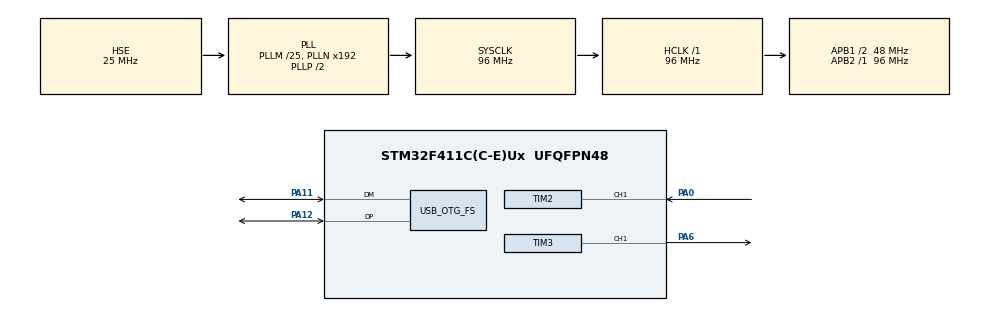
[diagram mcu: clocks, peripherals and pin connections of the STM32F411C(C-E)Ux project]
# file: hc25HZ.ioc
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Mcu.Family=STM32F4
Mcu.Name=STM32F411C(C-E)Ux
Mcu.Package=UFQFPN48
NVIC.OTG_FS_IRQn=true\:0\:0\:false\:false\:true\:false\:true\:true
NVIC.PriorityGroup=NVIC_PRIORITYGROUP_4
NVIC.TIM2_IRQn=true\:0\:0\:false\:false\:true\:true\:true\:true
PA0-WKUP.Signal=S_TIM2_CH1_ETR
PA11.Mode=Device_Only
PA11.Signal=USB_OTG_FS_DM
PA12.Mode=Device_Only
PA12.Signal=USB_OTG_FS_DP
PA13.Mode=Serial_Wire
PA13.Signal=SYS_JTMS-SWDIO
PA14.Mode=Serial_Wire
PA14.Signal=SYS_JTCK-SWCLK
PA6.Signal=S_TIM3_CH1
PH0\ -\ OSC_IN.Mode=HSE-External-Oscillator
PH0\ -\ OSC_IN.Signal=RCC_OSC_IN
PH1\ -\ OSC_OUT.Mode=HSE-External-Oscillator
PH1\ -\ OSC_OUT.Signal=RCC_OSC_OUT
ProjectManager.HeapSize=0x200
ProjectManager.StackSize=0x400
ProjectManager.TargetToolchain=STM32CubeIDE
RCC.48MHZClocksFreq_Value=48000000
RCC.AHBFreq_Value=96000000
RCC.APB1CLKDivider=RCC_HCLK_DIV2
RCC.APB1Freq_Value=48000000
RCC.APB1TimFreq_Value=96000000
RCC.APB2Freq_Value=96000000
RCC.APB2TimFreq_Value=96000000
RCC.CortexFreq_Value=96000000
RCC.HCLKFreq_Value=96000000
RCC.HSE_VALUE=25000000
RCC.HSI_VALUE=16000000
RCC.LSE_VALUE=32768
RCC.PLLM=25
RCC.SYSCLKFreq_VALUE=96000000
RCC.SYSCLKSource=RCC_SYSCLKSOURCE_PLLCLK
RCC.VCOOutputFreq_Value=192000000
SH.S_TIM2_CH1_ETR.0=TIM2_CH1,Input_Capture1_from_TI1
SH.S_TIM3_CH1.0=TIM3_CH1,PWM Generation1 CH1
TIM2.Channel-Input_Capture1_from_TI1=TIM_CHANNEL_1
TIM2.Prescaler=95
TIM3.Channel-PWM\ Generation1\ CH1=TIM_CHANNEL_1
TIM3.Period=39999
TIM3.Prescaler=95
TIM3.Pulse-PWM\ Generation1\ CH1=10
USB_DEVICE.CLASS_NAME_FS=CDC
USB_DEVICE.VirtualMode=Cdc
USB_DEVICE.VirtualModeFS=Cdc_FS
USB_OTG_FS.VirtualMode=Device_Only
VP_USB_DEVICE_VS_USB_DEVICE_CDC_FS.Mode=CDC_FS
board=custom

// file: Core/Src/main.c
/* USER CODE BEGIN Header */
/**
  ******************************************************************************
  * @file           : main.c
  * @brief          : Main program body
  ******************************************************************************
  * @attention
  *
  * Copyright (c) 2026 STMicroelectronics.
  * All rights reserved.
  *
  * This software is licensed under terms that can be found in the LICENSE file
  * in the root directory of this software component.
  * If no LICENSE file comes with this software, it is provided AS-IS.
  *
  ******************************************************************************
  */
/* USER CODE END Header */
#include "main.h"
#include "usb_device.h"

/* USER CODE BEGIN Includes */
#include "usbd_cdc_if.h"
#include <stdio.h>
#include <string.h>
/* USER CODE END Includes */

TIM_HandleTypeDef htim2;
TIM_HandleTypeDef htim3;

/* USER CODE BEGIN PV */
volatile uint32_t ic_val1 = 0;
volatile uint32_t ic_val2 = 0;
volatile uint32_t difference = 0;
volatile uint8_t is_first_captured = 0;
volatile uint8_t new_data_ready = 0;

float distance = 0;
char usb_buffer[64];
/* USER CODE END PV */

void SystemClock_Config(void);
static void MX_GPIO_Init(void);
static void MX_TIM2_Init(void);
static void MX_TIM3_Init(void);

/* USER CODE BEGIN 0 */
void HAL_TIM_IC_CaptureCallback(TIM_HandleTypeDef *htim)
{
    if (htim->Channel == HAL_TIM_ACTIVE_CHANNEL_1)
    {
        if (is_first_captured == 0) // Rising Edge Detected
        {
            ic_val1 = HAL_TIM_ReadCapturedValue(htim, TIM_CHANNEL_1);
            is_first_captured = 1;

            // Switch polarity to look for the falling edge
            __HAL_TIM_SET_CAPTUREPOLARITY(htim, TIM_CHANNEL_1, TIM_INPUTCHANNELPOLARITY_FALLING);
        }
        else // Falling Edge Detected
        {
            ic_val2 = HAL_TIM_ReadCapturedValue(htim, TIM_CHANNEL_1);

            if (ic_val2 > ic_val1) {
                difference = ic_val2 - ic_val1;
            } else {
                difference = (0xFFFFFFFF - ic_val1) + ic_val2;
            }

            new_data_ready = 1; // Signal main loop
            is_first_captured = 0;

            // Reset polarity back to rising edge for the next measurement
            __HAL_TIM_SET_CAPTUREPOLARITY(htim, TIM_CHANNEL_1, TIM_INPUTCHANNELPOLARITY_RISING);
        }
    }
}
/* USER CODE END 0 */

int main(void)
{

  /* MCU Configuration--------------------------------------------------------*/

  /* Reset of all peripherals, Initializes the Flash interface and the Systick. */
  HAL_Init();

  /* Configure the system clock */
  SystemClock_Config();

  /* Initialize all configured peripherals */
  MX_GPIO_Init();
  MX_TIM2_Init();
  MX_TIM3_Init();
  MX_USB_DEVICE_Init();
  /* USER CODE BEGIN 2 */
  // Start TIM2 Input Capture in Interrupt Mode
    HAL_TIM_IC_Start_IT(&htim2, TIM_CHANNEL_1);

    // Start TIM3 PWM to trigger the sensor at 25Hz continuously
    HAL_TIM_PWM_Start(&htim3, TIM_CHANNEL_1);
  /* USER CODE END 2 */

  /* Infinite loop */
  while (1)
  {

    /* USER CODE BEGIN 3 */
	  if (new_data_ready)
	      {
	          // 1. Calculate distance (Time in µs * 0.0343 / 2)
	          distance = difference * 0.0343f / 2.0f;

	          // 2. Format without floats to save flash memory
	          int entier = (int)distance;
	          int decimal = (int)((distance - entier) * 10);

	          // 3. Transmit via USB-C
	          sprintf(usb_buffer, "Distance: %d.%d cm\r\n", entier, decimal);
	          CDC_Transmit_FS((uint8_t*)usb_buffer, strlen(usb_buffer));

	          // 4. Clear flag
	          new_data_ready = 0;
	      }
  }
  /* USER CODE END 3 */
}

void SystemClock_Config(void)
{
  RCC_OscInitTypeDef RCC_OscInitStruct = {0};
  RCC_ClkInitTypeDef RCC_ClkInitStruct = {0};

  /** Configure the main internal regulator output voltage
  */
  __HAL_RCC_PWR_CLK_ENABLE();
  __HAL_PWR_VOLTAGESCALING_CONFIG(PWR_REGULATOR_VOLTAGE_SCALE1);

  /** Initializes the RCC Oscillators according to the specified parameters
  * in the RCC_OscInitTypeDef structure.
  */
  RCC_OscInitStruct.OscillatorType = RCC_OSCILLATORTYPE_HSE;
  RCC_OscInitStruct.HSEState = RCC_HSE_ON;
  RCC_OscInitStruct.PLL.PLLState = RCC_PLL_ON;
  RCC_OscInitStruct.PLL.PLLSource = RCC_PLLSOURCE_HSE;
  RCC_OscInitStruct.PLL.PLLM = 25;
  RCC_OscInitStruct.PLL.PLLN = 192;
  RCC_OscInitStruct.PLL.PLLP = RCC_PLLP_DIV2;
  RCC_OscInitStruct.PLL.PLLQ = 4;
  if (HAL_RCC_OscConfig(&RCC_OscInitStruct) != HAL_OK)
  {
    Error_Handler();
  }

  /** Initializes the CPU, AHB and APB buses clocks
  */
  RCC_ClkInitStruct.ClockType = RCC_CLOCKTYPE_HCLK|RCC_CLOCKTYPE_SYSCLK
                              |RCC_CLOCKTYPE_PCLK1|RCC_CLOCKTYPE_PCLK2;
  RCC_ClkInitStruct.SYSCLKSource = RCC_SYSCLKSOURCE_PLLCLK;
  RCC_ClkInitStruct.AHBCLKDivider = RCC_SYSCLK_DIV1;
  RCC_ClkInitStruct.APB1CLKDivider = RCC_HCLK_DIV2;
  RCC_ClkInitStruct.APB2CLKDivider = RCC_HCLK_DIV1;

  if (HAL_RCC_ClockConfig(&RCC_ClkInitStruct, FLASH_LATENCY_3) != HAL_OK)
  {
    Error_Handler();
  }
}

static void MX_TIM2_Init(void)
{

  TIM_MasterConfigTypeDef sMasterConfig = {0};
  TIM_IC_InitTypeDef sConfigIC = {0};

  htim2.Instance = TIM2;
  htim2.Init.Prescaler = 95;
  htim2.Init.CounterMode = TIM_COUNTERMODE_UP;
  htim2.Init.Period = 4294967295;
  htim2.Init.ClockDivision = TIM_CLOCKDIVISION_DIV1;
  htim2.Init.AutoReloadPreload = TIM_AUTORELOAD_PRELOAD_DISABLE;
  if (HAL_TIM_IC_Init(&htim2) != HAL_OK)
  {
    Error_Handler();
  }
  sMasterConfig.MasterOutputTrigger = TIM_TRGO_RESET;
  sMasterConfig.MasterSlaveMode = TIM_MASTERSLAVEMODE_DISABLE;
  if (HAL_TIMEx_MasterConfigSynchronization(&htim2, &sMasterConfig) != HAL_OK)
  {
    Error_Handler();
  }
  sConfigIC.ICPolarity = TIM_INPUTCHANNELPOLARITY_RISING;
  sConfigIC.ICSelection = TIM_ICSELECTION_DIRECTTI;
  sConfigIC.ICPrescaler = TIM_ICPSC_DIV1;
  sConfigIC.ICFilter = 0;
  if (HAL_TIM_IC_ConfigChannel(&htim2, &sConfigIC, TIM_CHANNEL_1) != HAL_OK)
  {
    Error_Handler();
  }

}

static void MX_TIM3_Init(void)
{

  TIM_MasterConfigTypeDef sMasterConfig = {0};
  TIM_OC_InitTypeDef sConfigOC = {0};

  htim3.Instance = TIM3;
  htim3.Init.Prescaler = 95;
  htim3.Init.CounterMode = TIM_COUNTERMODE_UP;
  htim3.Init.Period = 39999;
  htim3.Init.ClockDivision = TIM_CLOCKDIVISION_DIV1;
  htim3.Init.AutoReloadPreload = TIM_AUTORELOAD_PRELOAD_DISABLE;
  if (HAL_TIM_PWM_Init(&htim3) != HAL_OK)
  {
    Error_Handler();
  }
  sMasterConfig.MasterOutputTrigger = TIM_TRGO_RESET;
  sMasterConfig.MasterSlaveMode = TIM_MASTERSLAVEMODE_DISABLE;
  if (HAL_TIMEx_MasterConfigSynchronization(&htim3, &sMasterConfig) != HAL_OK)
  {
    Error_Handler();
  }
  sConfigOC.OCMode = TIM_OCMODE_PWM1;
  sConfigOC.Pulse = 10;
  sConfigOC.OCPolarity = TIM_OCPOLARITY_HIGH;
  sConfigOC.OCFastMode = TIM_OCFAST_DISABLE;
  if (HAL_TIM_PWM_ConfigChannel(&htim3, &sConfigOC, TIM_CHANNEL_1) != HAL_OK)
  {
    Error_Handler();
  }
  HAL_TIM_MspPostInit(&htim3);

}

static void MX_GPIO_Init(void)
{

  /* GPIO Ports Clock Enable */
  __HAL_RCC_GPIOH_CLK_ENABLE();
  __HAL_RCC_GPIOA_CLK_ENABLE();

}

void Error_Handler(void)
{
  __disable_irq();
  while (1)
  {
  }
}
